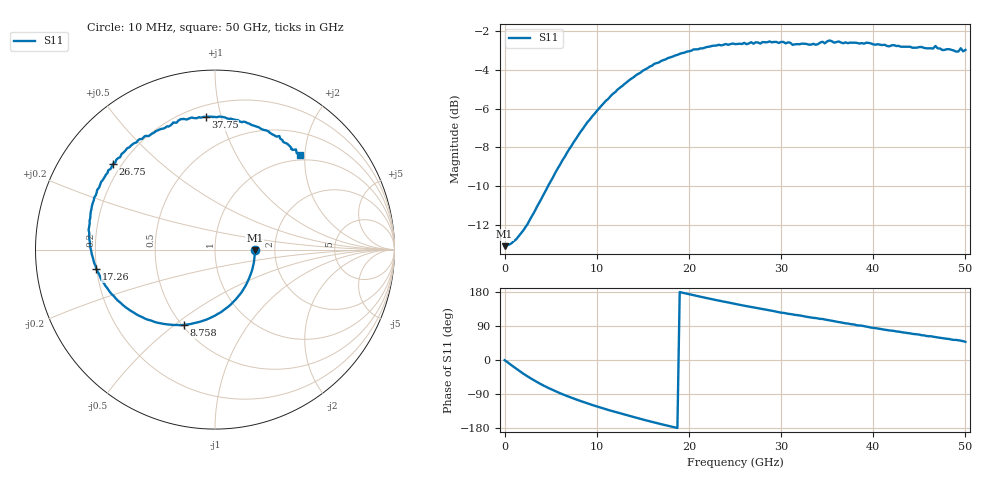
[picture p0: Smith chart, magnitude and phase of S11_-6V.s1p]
!Agilent Technologies,N5227A,US51270434,A.10.00.00
!Agilent N5227A: A.10.00.00
!Date: Thursday, February 26, 2026 12:01:08
!Correction: S11(Full 1 Port(1))
!S1P File: Measurement: S11:
# Hz S  dB  R 50
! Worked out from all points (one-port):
!   201 points, 10 MHz to 50 GHz, reference 50 ohm
!   lowest |S11| = -13.1 dB at 10 MHz (marker M1), VSWR 1.57, Z = 78.4 - j0.341 ohm
!   |S11| at or under -10 dB: start of sweep to 4.717 GHz
!   S11 on the Smith chart (normalised r, x): 10 MHz: 1.57, -0.01; 8.758 GHz: 0.51, -0.54; 17.26 GHz: 0.20, -0.08; 26.75 GHz: 0.17, +0.36; 37.75 GHz: 0.27, +0.89; 50 GHz: 0.90, +1.91
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1e7  -13.09 -0.5
1.25975e9  -12.74 -22.7
3.0094e9  -11.52 -50.8
4.75905e9  -9.96 -73.8
6.25875e9  -8.68 -90.0
8.75825e9  -6.86 -112.6
1.075785e10  -5.71 -128.1
1.25075e10  -4.92 -140.6
1.5007e10  -4.04 -157.0
1.725655e10  -3.49 -170.7
1.875625e10  -3.23 -179.4
2.05059e10  -2.94 171.1
2.20056e10  -2.81 163.2
2.40052e10  -2.66 153.1
2.5005e10  -2.67 148.0
2.675465e10  -2.57 139.9
3.0004e10  -2.56 125.0
3.125375e10  -2.71 120.3
3.525295e10  -2.48 104.8
3.75025e10  -2.59 94.9
3.775245e10  -2.60 94.0
3.95021e10  -2.61 87.0
4.375125e10  -2.82 71.0
4.675065e10  -2.76 60.4
4.85003e10  -2.97 53.8
4.90002e10  -3.06 53.0
4.95001e10  -2.88 51.0
5e10  -2.97 47.9
